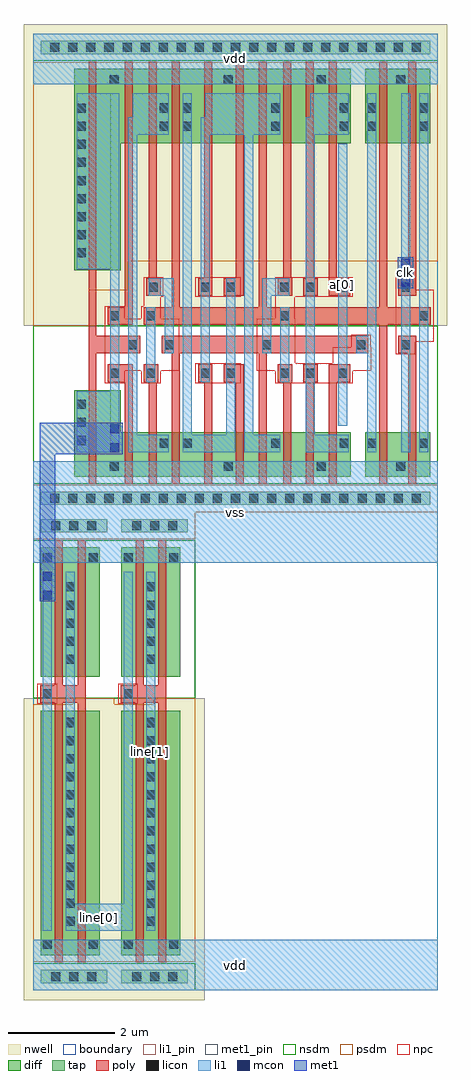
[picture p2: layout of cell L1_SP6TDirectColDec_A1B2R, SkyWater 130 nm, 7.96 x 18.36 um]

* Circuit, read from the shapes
.subckt L1_SP6TDirectColDec_A1B2R a[0] clk line[0] line[1] vdd vss
XM1 line[0] L1_Dec_inv_x2_0/i vss vss sky130_fd_pr__nfet_01v8 w=2.44 l=0.15 m=2
XM2 vss n1 L1_Dec_inv_x2_0/i vss sky130_fd_pr__nfet_01v8 w=1.63 l=0.15
XM3 n2 L1_Dec_inv_x2_0/i vss vss sky130_fd_pr__nfet_01v8 w=0.84 l=0.15
XM4 line[1] line[0] vss vss sky130_fd_pr__nfet_01v8 w=2.44 l=0.15 m=2
XM5 n1 n3 n2 vss sky130_fd_pr__nfet_01v8 w=0.84 l=0.15
XM6 n4 n5 n1 vss sky130_fd_pr__nfet_01v8 w=0.84 l=0.15
XM7 vss n6 n4 vss sky130_fd_pr__nfet_01v8 w=0.84 l=0.15
XM8 n7 n4 vss vss sky130_fd_pr__nfet_01v8 w=0.84 l=0.15
XM9 n6 n5 n7 vss sky130_fd_pr__nfet_01v8 w=0.84 l=0.15
XM10 n8 n3 n6 vss sky130_fd_pr__nfet_01v8 w=0.84 l=0.15
XM11 vss n9 n8 vss sky130_fd_pr__nfet_01v8 w=0.84 l=0.15
XM12 n9 a[0] vss vss sky130_fd_pr__nfet_01v8 w=0.84 l=0.15
XM13 vss n3 n5 vss sky130_fd_pr__nfet_01v8 w=0.84 l=0.15
XM14 n3 clk vss vss sky130_fd_pr__nfet_01v8 w=0.84 l=0.15
XM15 line[0] L1_Dec_inv_x2_0/i vdd vdd sky130_fd_pr__pfet_01v8 w=4.6 l=0.15 m=2
XM16 vdd n1 L1_Dec_inv_x2_0/i vdd sky130_fd_pr__pfet_01v8 w=3.79 l=0.15
XM17 n10 L1_Dec_inv_x2_0/i vdd vdd sky130_fd_pr__pfet_01v8 w=1.4 l=0.15
XM18 line[1] line[0] vdd vdd sky130_fd_pr__pfet_01v8 w=4.6 l=0.15 m=2
XM19 n1 n5 n10 vdd sky130_fd_pr__pfet_01v8 w=1.4 l=0.15
XM20 n4 n3 n1 vdd sky130_fd_pr__pfet_01v8 w=1.4 l=0.15
XM21 vdd n6 n4 vdd sky130_fd_pr__pfet_01v8 w=1.4 l=0.15
XM22 n11 n4 vdd vdd sky130_fd_pr__pfet_01v8 w=1.4 l=0.15
XM23 n6 n3 n11 vdd sky130_fd_pr__pfet_01v8 w=1.4 l=0.15
XM24 n12 n5 n6 vdd sky130_fd_pr__pfet_01v8 w=1.4 l=0.15
XM25 vdd n9 n12 vdd sky130_fd_pr__pfet_01v8 w=1.4 l=0.15
XM26 n9 a[0] vdd vdd sky130_fd_pr__pfet_01v8 w=1.4 l=0.15
XM27 vdd n3 n5 vdd sky130_fd_pr__pfet_01v8 w=1.4 l=0.15
XM28 n3 clk vdd vdd sky130_fd_pr__pfet_01v8 w=1.4 l=0.15
.ends

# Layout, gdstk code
from math import pi, radians
import gdstk
lib = gdstk.Library(unit=1e-6, precision=1e-09)
def R(c, l, rs):  # rectangles x0, y0, x1, y1
    for r in rs: c.add(gdstk.rectangle(r[:2], r[2:], *l))
def A(c, l, x, y, w, h, nx, ny, dx, dy):  # array of equal rectangles
    R(c, l, [(x+i*dx, y+j*dy, x+i*dx+w, y+j*dy+h) for i in range(nx) for j in range(ny)])
def P(c, l, *ps):  # polygons
    for p in ps: c.add(gdstk.Polygon(p, *l))
nwell = (64, 20)
diff = (65, 20)
tap = (65, 44)
poly = (66, 20)
licon = (66, 44)
li1_pin = (67, 16)
li1 = (67, 20)
mcon = (67, 44)
met1_pin = (68, 16)
met1 = (68, 20)
nsdm = (93, 44)
psdm = (94, 20)
npc = (95, 20)
boundary = (235, 4)

l1_dec_inv_x2 = lib.new_cell('L1_Dec_inv_x2')
R(l1_dec_inv_x2, nwell, [(-0.18,3.5,1.7,9.18)])
R(l1_dec_inv_x2, diff, [(0.135,0.66,1.245,3.1), (0.135,3.74,1.245,8.34)])
R(l1_dec_inv_x2, tap, [(0.135,0.135,1.385,0.385), (0.135,8.615,1.385,8.865)])
P(l1_dec_inv_x2, poly, [(0.4,0.53),(0.4,3.255),(0.125,3.255),(0.125,3.585),(0.4,3.585),(0.4,8.47),(0.55,8.47),(0.55,3.585),(0.83,3.585),(0.83,8.47),(0.98,8.47),(0.98,0.53),(0.83,0.53),(0.83,3.255),(0.55,3.255),(0.55,0.53)])
A(l1_dec_inv_x2, licon, 0.335, 0.175, 0.17, 0.17, 3, 2, 0.34, 8.48)
A(l1_dec_inv_x2, licon, 0.605, 1.325, 0.17, 0.17, 1, 5, 0, 0.34)
A(l1_dec_inv_x2, licon, 0.605, 3.875, 0.17, 0.17, 1, 12, 0, 0.34)
R(l1_dec_inv_x2, licon, [(0.175,0.78,0.345,0.95), (1.035,0.78,1.205,0.95), (0.175,3.335,0.345,3.505), (0.175,8.05,0.345,8.22), (1.035,8.05,1.205,8.22)])
R(l1_dec_inv_x2, li1_pin, [(0,0,1.52,0.95), (0.175,1.12,0.345,7.88), (0.605,1.12,0.775,7.88), (0,8.05,1.52,9)])
R(l1_dec_inv_x2, li1, [(0,0,1.52,0.95), (0.175,1.12,0.345,7.88), (0.605,1.12,0.775,7.88), (0,8.05,1.52,9)])
R(l1_dec_inv_x2, nsdm, [(0,0.535,1.52,3.5), (0,8.49,1.52,9)])
R(l1_dec_inv_x2, psdm, [(0,0,1.52,0.51)])
P(l1_dec_inv_x2, psdm, [(0.745,3.5),(0.745,3.615),(0,3.615),(0,8.465),(1.52,8.465),(1.52,3.5)])
R(l1_dec_inv_x2, npc, [(0.075,3.235,0.445,3.605)])
l1_dec_inv_x2.add(gdstk.Label('i', (0.26,4.5), layer=67, texttype=16))
l1_dec_inv_x2.add(gdstk.Label('nq', (0.69,4.5), layer=67, texttype=16))
l1_dec_inv_x2.add(gdstk.Label('vdd', (0.76,8.525), layer=67, texttype=16))
l1_dec_inv_x2.add(gdstk.Label('vss', (0.76,0.475), layer=67, texttype=16))

l1_dec_dff_x1 = lib.new_cell('L1_Dec_dff_x1')
R(l1_dec_dff_x1, nwell, [(-0.18,3.5,7.78,9.18)])
R(l1_dec_dff_x1, diff, [(0.135,0.66,1.36,1.5), (0.135,6.94,1.36,8.34)])
P(l1_dec_dff_x1, diff, [(5.96,4.55),(5.96,6.94),(1.63,6.94),(1.63,8.34),(6.83,8.34),(6.83,4.55)],
  [(1.63,0.66),(1.63,1.5),(5.96,1.5),(5.96,2.29),(6.83,2.29),(6.83,0.66)])
R(l1_dec_dff_x1, tap, [(0.135,0.135,7.465,0.385), (0.135,8.615,7.465,8.865)])
P(l1_dec_dff_x1, poly, [(5.735,0.53),(5.735,2.775),(6.205,2.775),(6.205,2.445),(5.885,2.445),(5.885,0.53)],
  [(3.645,0.53),(3.645,2.775),(4.025,2.775),(4.025,2.445),(3.795,2.445),(3.795,0.53)],
  [(5.735,3.525),(5.735,8.47),(5.885,8.47),(5.885,3.855),(6.205,3.855),(6.205,3.525)],
  [(6.415,0.53),(6.415,2.985),(5.595,2.985),(5.595,3.315),(6.415,3.315),(6.415,8.47),(6.565,8.47),(6.565,0.53)],
  [(3.645,4.065),(3.645,8.47),(3.795,8.47),(3.795,4.395),(4.025,4.395),(4.025,4.065)],
  [(2.755,0.53),(2.755,2.445),(2.735,2.445),(2.735,2.775),(3.005,2.775),(3.005,2.445),(2.905,2.445),(2.905,0.53)],
  [(1.645,4.065),(1.645,4.395),(1.895,4.395),(1.895,8.47),(2.045,8.47),(2.045,4.065)],
  [(0.4,0.53),(0.4,3.315),(0.735,3.315),(0.735,2.985),(0.55,2.985),(0.55,0.53)],
  [(2.735,4.065),(2.735,4.395),(2.755,4.395),(2.755,8.47),(2.905,8.47),(2.905,4.395),(3.005,4.395),(3.005,4.065)],
  [(3.215,0.53),(3.215,2.985),(1.305,2.985),(1.305,3.315),(5.185,3.315),(5.185,2.985),(5,2.985),(5,0.53),(4.85,0.53),(4.85,2.985),(3.365,2.985),(3.365,0.53)],
  [(2.255,4.065),(2.255,4.395),(2.325,4.395),(2.325,8.47),(2.475,8.47),(2.475,4.395),(2.525,4.395),(2.525,4.065)],
  [(5.21,4.065),(5.21,4.395),(5.28,4.395),(5.28,8.47),(5.43,8.47),(5.43,4.395),(5.48,4.395),(5.48,4.065)],
  [(1.895,0.53),(1.895,2.445),(1.645,2.445),(1.645,2.775),(2.045,2.775),(2.045,0.53)],
  [(0.945,0.53),(0.945,3.525),(0.125,3.525),(0.125,3.855),(0.945,3.855),(0.945,8.47),(1.095,8.47),(1.095,3.855),(3.215,3.855),(3.215,8.47),(3.365,8.47),(3.365,3.855),(4.85,3.855),(4.85,8.47),(5,8.47),(5,3.855),(5.525,3.855),(5.525,3.525),(1.095,3.525),(1.095,0.53)],
  [(0.4,4.065),(0.4,8.47),(0.55,8.47),(0.55,4.395),(0.735,4.395),(0.735,4.065)],
  [(4.235,4.065),(4.235,8.47),(4.385,8.47),(4.385,4.395),(4.505,4.395),(4.505,4.065)],
  [(5.28,0.53),(5.28,2.445),(5.255,2.445),(5.255,2.775),(5.525,2.775),(5.525,2.445),(5.43,2.445),(5.43,0.53)],
  [(2.325,0.53),(2.325,2.445),(2.255,2.445),(2.255,2.775),(2.525,2.775),(2.525,2.445),(2.475,2.445),(2.475,0.53)],
  [(4.235,0.53),(4.235,2.775),(4.505,2.775),(4.505,2.445),(4.385,2.445),(4.385,0.53)])
A(l1_dec_dff_x1, licon, 0.315, 0.175, 0.17, 0.17, 21, 2, 0.34, 8.48)
A(l1_dec_dff_x1, licon, 6.62, 1.26, 0.17, 0.17, 1, 3, 0, 0.34)
A(l1_dec_dff_x1, licon, 6.62, 4.79, 0.17, 0.17, 1, 9, 0, 0.34)
R(l1_dec_dff_x1, licon, [(0.605,0.78,0.775,0.95), (2.1,0.78,2.27,0.95), (3.85,0.78,4.02,0.95), (6,0.78,6.17,0.95), (0.175,1.205,0.345,1.375), (1.15,1.205,1.32,1.375), (1.67,1.205,1.84,1.375), (2.96,1.205,3.13,1.375), (4.625,1.205,4.795,1.375), (5.055,1.205,5.225,1.375), (1.695,2.525,1.865,2.695), (2.305,2.525,2.475,2.695), (2.785,2.525,2.955,2.695), (3.805,2.525,3.975,2.695), (4.285,2.525,4.455,2.695), (5.305,2.525,5.475,2.695), (5.985,2.525,6.155,2.695), (0.515,3.065,0.685,3.235), (1.355,3.065,1.525,3.235), (3.125,3.065,3.295,3.235), (4.965,3.065,5.135,3.235), (5.645,3.065,5.815,3.235), (0.175,3.605,0.345,3.775), (2.785,3.605,2.955,3.775), (5.305,3.605,5.475,3.775), (5.985,3.605,6.155,3.775), (0.515,4.145,0.685,4.315), (1.695,4.145,1.865,4.315), (2.305,4.145,2.475,4.315), (2.785,4.145,2.955,4.315), (3.805,4.145,3.975,4.315), (4.285,4.145,4.455,4.315), (5.26,4.145,5.43,4.315), (0.175,7.175,0.345,7.345), (1.15,7.175,1.32,7.345), (1.67,7.175,1.84,7.345), (2.96,7.175,3.13,7.345), (4.625,7.175,4.795,7.345), (5.055,7.175,5.225,7.345), (0.175,7.515,0.345,7.685), (1.15,7.515,1.32,7.685), (1.67,7.515,1.84,7.685), (2.96,7.515,3.13,7.685), (4.625,7.515,4.795,7.685), (5.055,7.515,5.225,7.685), (0.605,8.05,0.775,8.22), (2.1,8.05,2.27,8.22), (3.85,8.05,4.02,8.22), (6,8.05,6.17,8.22)])
R(l1_dec_dff_x1, li1_pin, [(0,0,7.6,0.95), (0.515,1.12,0.685,7.88), (5.985,1.12,6.155,7.88), (1.695,1.625,1.865,6.925), (0,8.05,7.6,9)])
R(l1_dec_dff_x1, li1, [(0,0,7.6,0.95), (0.175,1.12,0.345,7.88), (0.515,1.12,0.685,7.88), (1.695,1.625,1.865,6.925), (2.785,2.445,2.955,3.855), (5.305,2.445,5.475,3.855), (0,8.05,7.6,9)])
P(l1_dec_dff_x1, li1, [(5.985,1.12),(5.985,7.88),(6.79,7.88),(6.79,4.565),(6.155,4.565),(6.155,2.275),(6.79,2.275),(6.79,1.12)],
  [(5.055,1.12),(5.055,1.455),(5.645,1.455),(5.645,7.095),(5.055,7.095),(5.055,7.88),(5.73,7.88),(5.73,7.425),(5.815,7.425),(5.815,1.125),(5.73,1.125),(5.73,1.12)],
  [(3.89,1.12),(3.89,1.125),(3.805,1.125),(3.805,4.395),(3.975,4.395),(3.975,1.455),(4.625,1.455),(4.625,7.88),(4.795,7.88),(4.795,1.12)],
  [(1.15,1.12),(1.15,7.88),(1.32,7.88),(1.32,3.315),(1.525,3.315),(1.525,2.985),(1.32,2.985),(1.32,1.12)],
  [(2.96,1.12),(2.96,1.455),(3.465,1.455),(3.465,7.095),(2.96,7.095),(2.96,7.88),(4.37,7.88),(4.37,7.425),(4.455,7.425),(4.455,2.445),(4.285,2.445),(4.285,7.095),(3.635,7.095),(3.635,1.125),(3.55,1.125),(3.55,1.12)],
  [(4.965,2.985),(4.965,4.395),(5.43,4.395),(5.43,4.065),(5.135,4.065),(5.135,2.985)],
  [(1.67,1.12),(1.67,1.455),(2.305,1.455),(2.305,7.095),(1.67,7.095),(1.67,7.88),(2.39,7.88),(2.39,7.425),(2.475,7.425),(2.475,1.125),(2.39,1.125),(2.39,1.12)],
  [(3.125,2.985),(3.125,4.065),(2.785,4.065),(2.785,4.395),(3.295,4.395),(3.295,2.985)])
R(l1_dec_dff_x1, nsdm, [(0,0.535,7.6,3.5), (0,8.49,7.6,9)])
R(l1_dec_dff_x1, psdm, [(0,0,7.6,0.51)])
P(l1_dec_dff_x1, psdm, [(6.555,3.5),(6.555,4.175),(5.83,4.175),(5.83,4.715),(0,4.715),(0,8.465),(7.6,8.465),(7.6,3.5)])
R(l1_dec_dff_x1, npc, [(3.705,2.425,4.555,2.795), (3.705,4.045,4.555,4.415)])
P(l1_dec_dff_x1, npc, [(5.205,2.425),(5.205,2.66),(4.86,2.66),(4.86,3.64),(5.205,3.64),(5.205,4.045),(5.16,4.045),(5.16,4.415),(5.53,4.415),(5.53,3.875),(5.575,3.875),(5.575,3.64),(5.885,3.64),(5.885,3.875),(6.255,3.875),(6.255,3.64),(6.26,3.64),(6.26,2.66),(6.255,2.66),(6.255,2.425),(5.885,2.425),(5.885,2.66),(5.575,2.66),(5.575,2.425)],
  [(1.595,2.425),(1.595,2.66),(1.25,2.66),(1.25,3.1),(1.255,3.1),(1.255,3.335),(1.625,3.335),(1.625,3.1),(1.97,3.1),(1.97,2.795),(2.68,2.795),(2.68,3.64),(2.685,3.64),(2.685,4.045),(1.595,4.045),(1.595,4.415),(3.055,4.415),(3.055,3.64),(3.4,3.64),(3.4,2.66),(3.055,2.66),(3.055,2.425)],
  [(0.415,2.965),(0.415,3.2),(0.07,3.2),(0.07,4.18),(0.415,4.18),(0.415,4.415),(0.785,4.415),(0.785,4.18),(0.79,4.18),(0.79,3.2),(0.785,3.2),(0.785,2.965)])
l1_dec_dff_x1.add(gdstk.Label('q', (6.07,4.5), layer=67, texttype=16))
l1_dec_dff_x1.add(gdstk.Label('i', (1.78,4.275), layer=67, texttype=16))
l1_dec_dff_x1.add(gdstk.Label('clk', (0.6,4.5), layer=67, texttype=16))
l1_dec_dff_x1.add(gdstk.Label('vss', (3.8,0.475), layer=67, texttype=16))
l1_dec_dff_x1.add(gdstk.Label('vdd', (3.8,8.525), layer=67, texttype=16))

l1_sp6tdirectcoldec_a1b2 = lib.new_cell('L1_SP6TDirectColDec_A1B2R')
R(l1_sp6tdirectcoldec_a1b2, li1_pin, [(0,-9,7.6,-8.05), (0.605,-7.88,1.865,-7.37), (2.125,-7.88,2.295,-1.12), (0,-0.95,7.6,0.95), (5.735,1.625,5.905,6.925), (0,8.05,7.6,9)])
R(l1_sp6tdirectcoldec_a1b2, li1, [(0,-9,7.6,-8.05), (0.605,-7.88,1.865,-7.37), (2.125,-7.88,2.295,-1.12), (0.175,-1.65,0.345,-1.12), (0,-0.95,7.6,0.95), (1.445,1.12,1.615,1.65), (5.735,1.625,5.905,6.925), (6.915,4.235,7.085,4.765), (0,8.05,7.6,9)])
R(l1_sp6tdirectcoldec_a1b2, mcon, [(0.175,-1.65,0.345,-1.48), (0.175,-1.29,0.345,-1.12), (1.445,1.12,1.615,1.29), (1.445,1.48,1.615,1.65), (6.915,4.235,7.085,4.405), (6.915,4.595,7.085,4.765)])
R(l1_sp6tdirectcoldec_a1b2, met1_pin, [(6.855,4.205,7.145,4.795)])
R(l1_sp6tdirectcoldec_a1b2, met1, [(6.855,4.205,7.145,4.795)])
P(l1_sp6tdirectcoldec_a1b2, met1, [(0.115,-1.68),(0.115,1.68),(1.675,1.68),(1.675,1.09),(0.405,1.09),(0.405,-1.68)])
R(l1_sp6tdirectcoldec_a1b2, boundary, [(0,-9,7.6,9)])
l1_sp6tdirectcoldec_a1b2.add(gdstk.Reference(l1_dec_inv_x2, (0,0), x_reflection=True))
l1_sp6tdirectcoldec_a1b2.add(gdstk.Reference(l1_dec_inv_x2, (1.52,0), x_reflection=True))
l1_sp6tdirectcoldec_a1b2.add(gdstk.Reference(l1_dec_dff_x1, (7.6,0), rotation=pi, x_reflection=True))
l1_sp6tdirectcoldec_a1b2.add(gdstk.Label('clk', (7,4.5), layer=68, texttype=16))
l1_sp6tdirectcoldec_a1b2.add(gdstk.Label('vdd', (3.8,-8.525), layer=67, texttype=16))
l1_sp6tdirectcoldec_a1b2.add(gdstk.Label('vdd', (3.8,8.525), layer=67, texttype=16))
l1_sp6tdirectcoldec_a1b2.add(gdstk.Label('line[1]', (2.21,-4.5), layer=67, texttype=16))
l1_sp6tdirectcoldec_a1b2.add(gdstk.Label('vss', (3.8,0), layer=67, texttype=16))
l1_sp6tdirectcoldec_a1b2.add(gdstk.Label('line[0]', (1.235,-7.625), layer=67, texttype=16))
l1_sp6tdirectcoldec_a1b2.add(gdstk.Label('a[0]', (5.82,4.275), layer=67, texttype=16))

lib.write_gds('L1_SP6TDirectColDec_A1B2R.gds')
